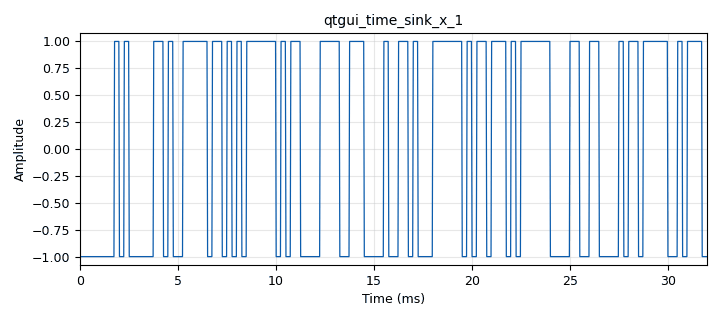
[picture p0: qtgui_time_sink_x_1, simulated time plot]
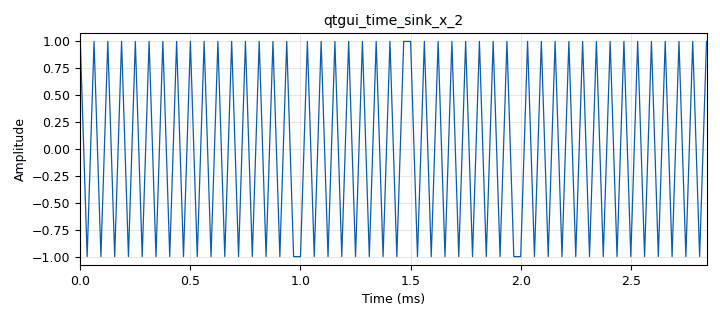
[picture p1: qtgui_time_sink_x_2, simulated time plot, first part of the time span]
options:
  parameters:
    generate_options: qt_gui
    id: digital_baseband
    output_language: python
    title: Not titled yet
  states: {}

blocks:
- name: bandwidth
  id: variable_qtgui_dial_control
  parameters:
    gui_hint: '[0,5,1,1]'
    label: Bandwidth
    maximum: '80'
    minimum: '5'
    relBackgroundColor: teal
    scaleFactor: '100'
    showvalue: 'True'
    type: real
    value: '2000'
  states: {}
- name: noise
  id: variable_qtgui_dial_control
  parameters:
    gui_hint: '[1,5,1,1]'
    label: Noise
    maximum: '100'
    minimum: '0'
    scaleFactor: '.002'
    showvalue: 'True'
    type: real
    value: '0'
  states: {}
- name: samp_rate
  id: variable
  parameters:
    value: '32000'
  states: {}
- name: sps
  id: variable
  parameters:
    value: '16'
  states: {}
- name: variable_tag_object_0
  id: variable_tag_object
  parameters:
    key: pmt.intern("key")
    offset: '0'
    src: pmt.intern("src")
    value: pmt.intern("value")
  states: {}
- name: analog_random_source_x_1
  id: analog_random_source_x
  parameters:
    max: '2'
    min: '0'
    num_samps: '128'
    repeat: 'True'
    type: byte
  states: {}
- name: blocks_char_to_float_0
  id: blocks_char_to_float
  parameters:
    scale: '1'
  states: {}
- name: blocks_multiply_const_vxx_0
  id: blocks_multiply_const_vxx
  parameters:
    const: '-1'
    type: float
  states: {}
- name: blocks_repeat_0
  id: blocks_repeat
  parameters:
    interp: sps//2
    type: float
  states: {}
- name: blocks_streams_to_vector_0
  id: blocks_streams_to_vector
  parameters:
    type: float
  states: {}
- name: blocks_vector_insert_x_1
  id: blocks_vector_insert_x
  parameters:
    offset: '0'
    period: '100'
    type: byte
    vector: 0, 0, 0
  states: {}
- name: blocks_vector_source_x_0
  id: blocks_vector_source_x
  parameters:
    repeat: 'True'
    type: complex
    vector: (0, 0, 0)
  states: {}
- name: blocks_vector_to_stream_0
  id: blocks_vector_to_stream
  parameters:
    type: float
  states: {}
- name: digital_map_bb_0
  id: digital_map_bb
  parameters:
    map: '[-1,1]'
  states: {}
- name: qtgui_time_sink_x_0
  id: qtgui_time_sink_x
  parameters:
    size: '1024'
    srate: samp_rate
    type: float
  states: {}
- name: qtgui_time_sink_x_1
  id: qtgui_time_sink_x
  parameters:
    size: '1024'
    srate: samp_rate
    type: float
  states: {}
- name: qtgui_time_sink_x_2
  id: qtgui_time_sink_x
  parameters:
    size: '1024'
    srate: samp_rate
    type: float
  states: {}

connections:
- [analog_random_source_x_1, '0', digital_map_bb_0, '0']
- [blocks_char_to_float_0, '0', blocks_repeat_0, '0']
- [blocks_multiply_const_vxx_0, '0', blocks_streams_to_vector_0, '1']
- [blocks_multiply_const_vxx_0, '0', qtgui_time_sink_x_1, '0']
- [blocks_repeat_0, '0', blocks_multiply_const_vxx_0, '0']
- [blocks_repeat_0, '0', blocks_streams_to_vector_0, '0']
- [blocks_streams_to_vector_0, '0', blocks_vector_to_stream_0, '0']
- [blocks_vector_to_stream_0, '0', qtgui_time_sink_x_2, '0']
- [digital_map_bb_0, '0', blocks_char_to_float_0, '0']

metadata:
  file_format: 1
  grc_version: 3.10.10.0
